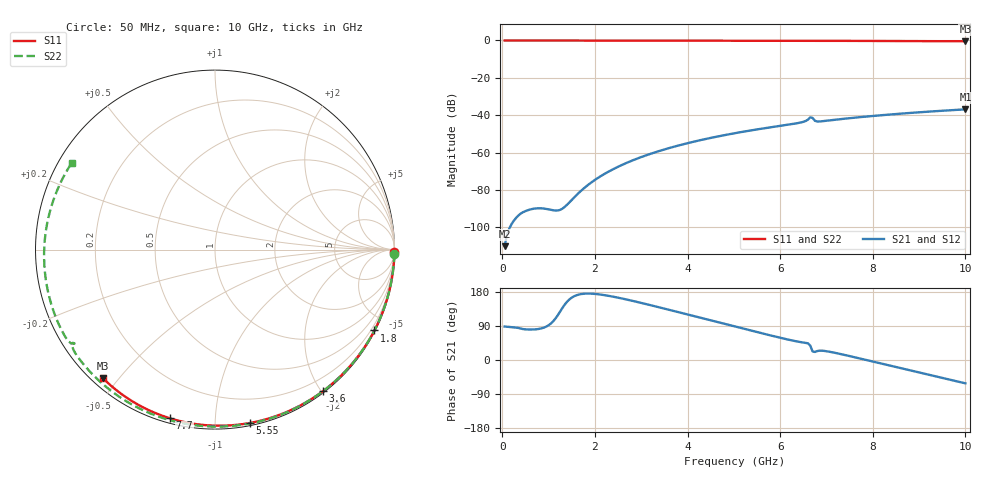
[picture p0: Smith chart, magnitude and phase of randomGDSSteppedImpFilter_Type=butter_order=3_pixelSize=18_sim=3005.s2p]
! freq	dB(S11)	phase(S11)	dB(S12)	phase(S12)
!  dB(S21)	phase(S21)	dB(S22)	phase(S22)
!S-par simulation data
#  GHz  S  DB  R 50
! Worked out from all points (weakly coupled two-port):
!   200 points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, 50 MHz to 10 GHz, reference 50 ohm
!   highest |S21| = -36.85 dB at 10 GHz (marker M1); lowest = -110.0 dB at 50 MHz (marker M2)
!   lowest |S11| = -0.4 dB at 10 GHz (marker M3), VSWR 39.20, Z = 1.54 - j22.6 ohm
!   |S11| at or under -10 dB: nowhere
!   |S22| runs from -0.6 to 0.0 dB; largest |S21 - S12| = 0
!   S11 on the Smith chart (normalised r, x): 50 MHz: open; 1.8 GHz: 0.04, -4.18; 3.6 GHz: 0.02, -2.02; 5.55 GHz: 0.02, -1.22; 7.7 GHz: 0.02, -0.77; 10 GHz: 0.03, -0.45
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0.05  -0.00 -0.8  -110.00 88.3  -110.00 88.3  -0.00 -1.3
0.85  -0.02 -12.8  -89.77 83.6  -89.77 83.6  -0.03 -21.4
1.7  -0.03 -25.4  -80.40 173.9  -80.40 173.9  -0.05 -42.2
1.75  -0.03 -26.2  -79.31 174.7  -79.31 174.7  -0.05 -43.4
1.8  -0.03 -26.9  -78.27 175.2  -78.27 175.2  -0.06 -44.6
2.1  -0.04 -31.3  -72.95 173.0  -72.95 173.0  -0.07 -51.7
2.45  -0.05 -36.3  -68.13 165.7  -68.13 165.7  -0.08 -59.8
3.4  -0.07 -49.8  -59.03 138.7  -59.03 138.7  -0.11 -81.1
3.6  -0.07 -52.6  -57.56 132.6  -57.56 132.6  -0.11 -85.4
4.3  -0.09 -62.1  -53.18 110.8  -53.18 110.8  -0.14 -100.1
5.05  -0.11 -72.1  -49.46 87.5  -49.46 87.5  -0.17 -115.2
5.55  -0.13 -78.6  -47.37 72.1  -47.37 72.1  -0.20 -125.0
6.4  -0.16 -89.2  -44.10 48.1  -44.10 48.1  -0.26 -141.5
6.55  -0.17 -91.1  -43.07 45.4  -43.07 45.4  -0.29 -144.6
6.65  -0.18 -92.3  -41.12 38.1  -41.12 38.1  -0.47 -146.8
6.7  -0.18 -92.9  -41.41 22.6  -41.41 22.6  -0.53 -146.2
6.75  -0.18 -93.5  -42.95 21.2  -42.95 21.2  -0.38 -146.9
6.85  -0.19 -94.7  -43.32 24.5  -43.32 24.5  -0.31 -149.1
7.7  -0.24 -104.9  -41.07 4.7  -41.07 4.7  -0.36 -165.5
8.35  -0.29 -112.5  -39.64 -14.1  -39.64 -14.1  -0.42 -178.0
9.2  -0.36 -122.2  -38.07 -38.7  -38.07 -38.7  -0.51 165.2
10  -0.44 -131.2  -36.85 -61.6  -36.85 -61.6  -0.60 148.7
